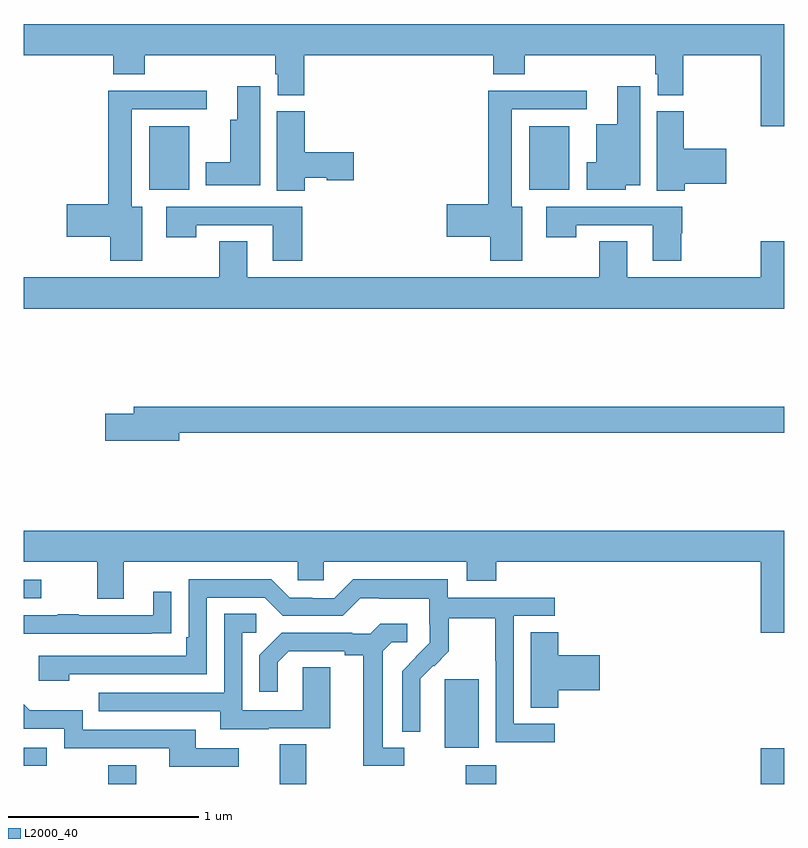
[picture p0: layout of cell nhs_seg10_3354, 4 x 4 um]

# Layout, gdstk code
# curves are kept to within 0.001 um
import gdstk
lib = gdstk.Library(unit=1e-6, precision=1e-09)
def R(c, l, rs):  # rectangles x0, y0, x1, y1
    for r in rs: c.add(gdstk.rectangle(r[:2], r[2:], *l))
def P(c, l, *ps):  # polygons
    for p in ps: c.add(gdstk.Polygon(p, *l))
L2000_40 = (2000, 40)

nhs_seg10_3354 = lib.new_cell('nhs_seg10_3354')
R(nhs_seg10_3354, L2000_40, [(293.446,1280.5,293.593,1280.599), (294.347,1280.5,294.487,1280.708), (295.324,1280.5,295.484,1280.599), (296.876,1280.5,297,1280.689), (293,1280.595,293.122,1280.691), (295.214,1280.69,295.393,1281.051), (293,1281.477,293.092,1281.573), (293.66,1283.624,293.872,1283.959), (295.658,1283.624,295.87,1283.959)])
P(nhs_seg10_3354, L2000_40, [(297,1284.496),(293,1284.496),(293,1284.332),(293.471,1284.332),(293.471,1284.233),(293.636,1284.233),(293.636,1284.332),(294.323,1284.332),(294.323,1284.231),(294.335,1284.231),(294.335,1284.121),(294.476,1284.121),(294.476,1284.332),(295.469,1284.332),(295.469,1284.233),(295.634,1284.233),(295.634,1284.332),(296.321,1284.332),(296.321,1284.231),(296.333,1284.231),(296.333,1284.121),(296.469,1284.121),(296.469,1284.332),(296.876,1284.332),(296.876,1283.958),(297,1283.958)],
  [(294.244,1284.169),(294.122,1284.169),(294.122,1283.992),(294.086,1283.992),(294.086,1283.77),(293.957,1283.77),(293.957,1283.648),(294.244,1283.648)],
  [(296.166,1283.648),(296.242,1283.648),(296.242,1284.169),(296.12,1284.169),(296.12,1283.968),(296.012,1283.968),(296.012,1283.77),(295.961,1283.77),(295.961,1283.624),(296.166,1283.624)],
  [(293.623,1283.536),(293.569,1283.536),(293.569,1284.048),(293.962,1284.048),(293.962,1284.146),(293.444,1284.146),(293.444,1283.549),(293.226,1283.549),(293.226,1283.378),(293.456,1283.378),(293.456,1283.25),(293.623,1283.25)],
  [(295.621,1283.536),(295.567,1283.536),(295.567,1284.048),(295.96,1284.048),(295.96,1284.146),(295.442,1284.146),(295.442,1283.549),(295.224,1283.549),(295.224,1283.378),(295.454,1283.378),(295.454,1283.25),(295.621,1283.25)],
  [(294.479,1283.687),(294.593,1283.687),(294.593,1283.675),(294.736,1283.675),(294.736,1283.822),(294.479,1283.822),(294.479,1284.036),(294.332,1284.036),(294.332,1283.62),(294.479,1283.62)],
  [(296.477,1283.657),(296.695,1283.657),(296.695,1283.84),(296.472,1283.84),(296.472,1284.036),(296.33,1284.036),(296.33,1283.62),(296.477,1283.62)],
  [(296.457,1283.397),(296.462,1283.397),(296.462,1283.535),(295.749,1283.535),(295.749,1283.376),(295.905,1283.376),(295.905,1283.439),(296.309,1283.439),(296.309,1283.25),(296.457,1283.25)],
  [(294.464,1283.535),(293.751,1283.535),(293.751,1283.376),(293.907,1283.376),(293.907,1283.439),(294.311,1283.439),(294.311,1283.25),(294.464,1283.25)],
  [(297,1283.353),(296.876,1283.353),(296.876,1283.164),(296.173,1283.164),(296.173,1283.354),(296.026,1283.354),(296.026,1283.164),(294.175,1283.164),(294.175,1283.354),(294.028,1283.354),(294.028,1283.164),(293,1283.164),(293,1283),(297,1283)],
  [(293.818,1282.348),(297,1282.348),(297,1282.484),(293.579,1282.484),(293.579,1282.448),(293.43,1282.448),(293.43,1282.306),(293.818,1282.306)],
  [(297,1281.832),(293,1281.832),(293,1281.668),(293.387,1281.668),(293.387,1281.474),(293.527,1281.474),(293.527,1281.668),(294.441,1281.668),(294.441,1281.57),(294.579,1281.57),(294.579,1281.668),(295.331,1281.668),(295.331,1281.569),(295.484,1281.569),(295.484,1281.668),(296.876,1281.668),(296.876,1281.294),(297,1281.294)],
  [(295.792,1280.817),(295.578,1280.817),(295.578,1281.384),(295.792,1281.384),(295.792,1281.48),(295.23,1281.48),(295.23,1281.577),(294.733,1281.577),(294.633,1281.477),(294.518,1281.477),(294.518,1281.48),(294.399,1281.48),(294.303,1281.576),(293.868,1281.576),(293.868,1281.271),(293.855,1281.271),(293.855,1281.174),(293.079,1281.174),(293.079,1281.044),(293.24,1281.044),(293.24,1281.078),(293.964,1281.078),(293.964,1281.48),(294.267,1281.48),(294.363,1281.384),(294.678,1281.384),(294.771,1281.477),(294.871,1281.477),(294.871,1281.473),(295.134,1281.473),(295.134,1281.339),(295.136,1281.339),(295.136,1281.242),(294.99,1281.094),(294.99,1280.776),(295.086,1280.776),(295.085,1281.053),(295.155,1281.123),(295.158,1281.12),(295.235,1281.197),(295.235,1281.372),(295.48,1281.372),(295.48,1281.148),(295.482,1281.148),(295.482,1280.719),(295.792,1280.719)],
  [(293.675,1281.292),(293.777,1281.292),(293.777,1281.511),(293.681,1281.511),(293.681,1281.387),(293.291,1281.387),(293.291,1281.392),(293.179,1281.392),(293.179,1281.387),(293,1281.387),(293,1281.291),(293.675,1281.291)],
  [(294.289,1280.793),(294.613,1280.793),(294.613,1281.113),(294.468,1281.113),(294.468,1280.889),(294.15,1280.889),(294.15,1281.294),(294.223,1281.294),(294.223,1281.395),(294.054,1281.395),(294.054,1280.979),(293.395,1280.979),(293.395,1280.883),(294.035,1280.883),(294.035,1280.789),(294.289,1280.789)],
  [(295,1280.691),(294.889,1280.691),(294.889,1281.199),(294.936,1281.246),(295.018,1281.246),(295.018,1281.343),(294.874,1281.343),(294.822,1281.291),(294.728,1281.291),(294.728,1281.294),(294.356,1281.294),(294.24,1281.178),(294.24,1280.985),(294.337,1280.985),(294.337,1281.141),(294.394,1281.198),(294.689,1281.198),(294.689,1281.176),(294.785,1281.176),(294.785,1280.595),(295,1280.595)],
  [(295.811,1280.993),(296.029,1280.993),(296.029,1281.176),(295.811,1281.176),(295.811,1281.299),(295.667,1281.299),(295.667,1280.902),(295.811,1280.902)],
  [(294.13,1280.688),(293.905,1280.688),(293.905,1280.784),(293.31,1280.784),(293.31,1280.887),(293.033,1280.887),(293,1280.92),(293,1280.79),(293.214,1280.79),(293.214,1280.688),(293.765,1280.688),(293.765,1280.592),(294.13,1280.592)])

lib.write_gds('nhs_seg10_3354.gds')
